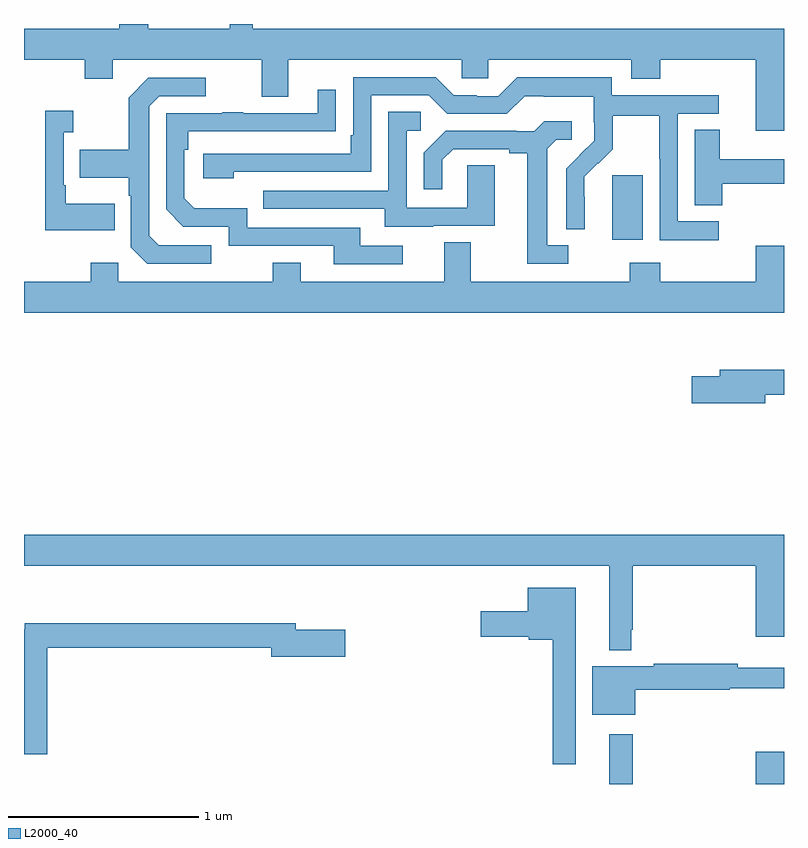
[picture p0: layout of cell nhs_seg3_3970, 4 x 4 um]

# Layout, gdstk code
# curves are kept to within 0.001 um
import gdstk
lib = gdstk.Library(unit=1e-6, precision=1e-09)
def R(c, l, rs):  # rectangles x0, y0, x1, y1
    for r in rs: c.add(gdstk.rectangle(r[:2], r[2:], *l))
def P(c, l, *ps):  # polygons
    for p in ps: c.add(gdstk.Polygon(p, *l))
L2000_40 = (2000, 40)

nhs_seg3_3970 = lib.new_cell('nhs_seg3_3970')
R(nhs_seg3_3970, L2000_40, [(320.081,734.4,320.203,734.662), (320.852,734.4,321,734.569), (320.096,737.265,320.257,737.605)])
P(nhs_seg3_3970, L2000_40, [(318.205,738.4),(318.083,738.4),(318.083,738.376),(317.653,738.376),(317.653,738.4),(317.501,738.4),(317.501,738.376),(317,738.376),(317,738.212),(317.32,738.212),(317.32,738.113),(317.467,738.113),(317.467,738.212),(318.251,738.212),(318.251,738.018),(318.391,738.018),(318.391,738.212),(319.305,738.212),(319.305,738.114),(319.443,738.114),(319.443,738.212),(320.195,738.212),(320.195,738.113),(320.348,738.113),(320.348,738.212),(320.852,738.212),(320.852,737.838),(321,737.838),(321,738.376),(318.205,738.376)],
  [(320.656,737.361),(320.442,737.361),(320.442,737.928),(320.656,737.928),(320.656,738.024),(320.094,738.024),(320.094,738.121),(319.597,738.121),(319.497,738.021),(319.382,738.021),(319.382,738.024),(319.263,738.024),(319.167,738.12),(318.732,738.12),(318.732,737.815),(318.719,737.815),(318.719,737.718),(317.943,737.718),(317.943,737.588),(318.104,737.588),(318.104,737.622),(318.828,737.622),(318.828,738.024),(319.131,738.024),(319.227,737.928),(319.542,737.928),(319.635,738.021),(319.735,738.021),(319.735,738.017),(319.998,738.017),(319.998,737.883),(320,737.883),(320,737.786),(319.854,737.638),(319.854,737.32),(319.951,737.32),(319.951,737.492),(319.949,737.492),(319.949,737.597),(320.019,737.667),(320.022,737.664),(320.099,737.741),(320.099,737.916),(320.344,737.916),(320.344,737.692),(320.346,737.692),(320.346,737.263),(320.656,737.263)],
  [(317.986,737.235),(317.709,737.235),(317.658,737.286),(317.658,737.967),(317.712,738.021),(317.956,738.021),(317.956,738.117),(317.655,738.117),(317.55,738.011),(317.55,737.739),(317.293,737.739),(317.293,737.591),(317.55,737.591),(317.55,737.495),(317.562,737.495),(317.562,737.226),(317.649,737.139),(317.986,737.139)],
  [(318.994,737.232),(318.769,737.232),(318.769,737.328),(318.174,737.328),(318.174,737.431),(317.897,737.431),(317.844,737.484),(317.844,737.738),(317.864,737.738),(317.864,737.835),(318.641,737.836),(318.641,738.055),(318.545,738.055),(318.545,737.931),(318.155,737.931),(318.155,737.936),(318.043,737.936),(318.043,737.931),(317.748,737.931),(317.748,737.424),(317.838,737.334),(318.078,737.334),(318.078,737.232),(318.629,737.232),(318.629,737.136),(318.994,737.136)],
  [(317.477,737.455),(317.221,737.455),(317.221,737.551),(317.208,737.551),(317.208,737.831),(317.26,737.831),(317.26,737.944),(317.111,737.944),(317.111,737.315),(317.477,737.315)],
  [(319.153,737.337),(319.477,737.337),(319.477,737.657),(319.332,737.657),(319.332,737.433),(319.014,737.433),(319.014,737.838),(319.087,737.838),(319.087,737.939),(318.918,737.939),(318.918,737.523),(318.259,737.523),(318.259,737.427),(318.899,737.427),(318.899,737.333),(319.153,737.333)],
  [(319.864,737.235),(319.753,737.235),(319.753,737.743),(319.8,737.79),(319.882,737.79),(319.882,737.887),(319.738,737.887),(319.686,737.835),(319.592,737.835),(319.592,737.838),(319.22,737.838),(319.104,737.722),(319.104,737.529),(319.201,737.529),(319.201,737.685),(319.258,737.742),(319.553,737.742),(319.553,737.72),(319.649,737.72),(319.649,737.139),(319.864,737.139)],
  [(320.675,737.56),(321,737.56),(321,737.689),(320.662,737.689),(320.662,737.843),(320.531,737.843),(320.531,737.446),(320.675,737.446)],
  [(321,737.233),(320.852,737.233),(320.852,737.044),(320.348,737.044),(320.348,737.143),(320.188,737.143),(320.188,737.044),(319.351,737.044),(319.351,737.252),(319.211,737.252),(319.211,737.044),(318.457,737.044),(318.457,737.143),(318.31,737.143),(318.31,737.044),(317.496,737.044),(317.496,737.143),(317.35,737.143),(317.35,737.044),(317,737.044),(317,736.88),(321,736.88)],
  [(320.902,736.45),(321,736.45),(321,736.579),(320.663,736.579),(320.663,736.545),(320.514,736.545),(320.514,736.403),(320.902,736.403)],
  [(317,735.548),(320.081,735.548),(320.081,735.104),(320.196,735.104),(320.196,735.211),(320.203,735.211),(320.203,735.548),(320.852,735.548),(320.852,735.174),(321,735.174),(321,735.712),(317,735.712)],
  [(319.903,735.433),(319.652,735.433),(319.652,735.31),(319.404,735.31),(319.404,735.176),(319.656,735.176),(319.656,735.158),(319.782,735.158),(319.782,734.505),(319.903,734.505)],
  [(317.123,735.118),(318.302,735.118),(318.302,735.071),(318.691,735.071),(318.691,735.213),(318.43,735.213),(318.43,735.247),(317.004,735.247),(317.004,735.214),(317,735.214),(317,734.556),(317.123,734.556)],
  [(320.218,734.896),(320.714,734.896),(320.714,734.904),(321,734.904),(321,735.013),(320.756,735.013),(320.756,735.032),(320.314,735.032),(320.314,735.019),(319.991,735.019),(319.991,734.765),(320.218,734.765)])

lib.write_gds('nhs_seg3_3970.gds')
